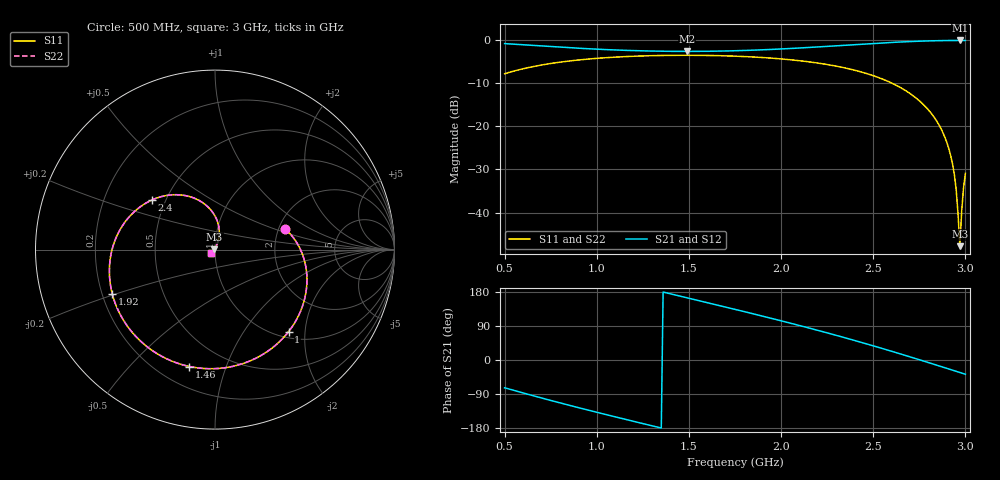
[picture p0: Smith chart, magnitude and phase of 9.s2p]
!freq-unit  param-type  data-format  keyword  impedance-ohms
# GHZ  S  RI  R  50
!Freq  ReS11  ImS11  ReS21  ImS21  ReS12  ImS12  ReS22  ImS22
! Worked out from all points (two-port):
!   251 points, 500 MHz to 3 GHz, reference 50 ohm
!   highest |S21| = -0.09 dB at 2.97 GHz (marker M1); lowest = -2.6 dB at 1.49 GHz (marker M2)
!   |S21| within 3 dB of the highest: start of sweep to end of sweep
!   lowest |S11| = -47.8 dB at 2.97 GHz (marker M3), VSWR 1.01, Z = 49.6 + j0.183 ohm
!   |S11| at or under -10 dB: 2.602 GHz to end of sweep
!   |S22| runs from -47.8 to -3.5 dB; largest |S21 - S12| = 0
!   S11 on the Smith chart (normalised r, x): 500 MHz: 2.17, +0.60; 1 GHz: 1.12, -1.64; 1.46 GHz: 0.32, -0.75; 1.92 GHz: 0.24, -0.20; 2.4 GHz: 0.42, +0.29; 3 GHz: 0.96, -0.04
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0.5  0.3902 0.116  0.2616 -0.8716  0.2616 -0.8716  0.3902 0.116
0.69  0.503 -0.0799  -0.1325 -0.8463  -0.1325 -0.8463  0.503 -0.0799
0.92  0.466 -0.3673  -0.4944 -0.6293  -0.4944 -0.6293  0.466 -0.3673
1  0.4104 -0.4566  -0.5826 -0.5252  -0.5826 -0.5252  0.4104 -0.4566
1.34  0.0189 -0.6622  -0.7428 -0.0216  -0.7428 -0.0216  0.0189 -0.6622
1.46  -0.1423 -0.6513  -0.722 0.1577  -0.722 0.1577  -0.1423 -0.6513
1.49  -0.1817 -0.6415  -0.7109 0.2014  -0.7109 0.2014  -0.1817 -0.6415
1.75  -0.4701 -0.4502  -0.5196 0.5437  -0.5196 0.5437  -0.4701 -0.4502
1.92  -0.5721 -0.2477  -0.3064 0.7112  -0.3064 0.7112  -0.5721 -0.2477
2.17  -0.5475 0.0746  0.1141 0.8174  0.1141 0.8174  -0.5475 0.0746
2.4  -0.3511 0.2767  0.5524 0.6925  0.5524 0.6925  -0.3511 0.2767
2.59  -0.1377 0.2943  0.8522 0.3884  0.8522 0.3884  -0.1377 0.2943
2.77  0.00343 0.1807  0.9731 -0.0386  0.9731 -0.0386  0.00343 0.1807
2.88  0.0233 0.0794  0.9325 -0.3224  0.9325 -0.3224  0.0233 0.0794
2.92  0.0159 0.0432  0.8945 -0.4216  0.8945 -0.4216  0.0159 0.0432
2.94  0.00943 0.026  0.8711 -0.4694  0.8711 -0.4694  0.00943 0.026
2.95  0.00551 0.0177  0.8583 -0.4928  0.8583 -0.4928  0.00551 0.0177
2.96  0.00114 0.00965  0.8448 -0.5158  0.8448 -0.5158  0.00114 0.00965
2.97  -0.00365 0.00184  0.8306 -0.5384  0.8306 -0.5384  -0.00365 0.00184
2.98  -0.00885 -0.0057  0.8158 -0.5605  0.8158 -0.5605  -0.00885 -0.0057
2.99  -0.0145 -0.0129  0.8002 -0.5822  0.8002 -0.5822  -0.0145 -0.0129
3  -0.0205 -0.0199  0.7841 -0.6034  0.7841 -0.6034  -0.0205 -0.0199
